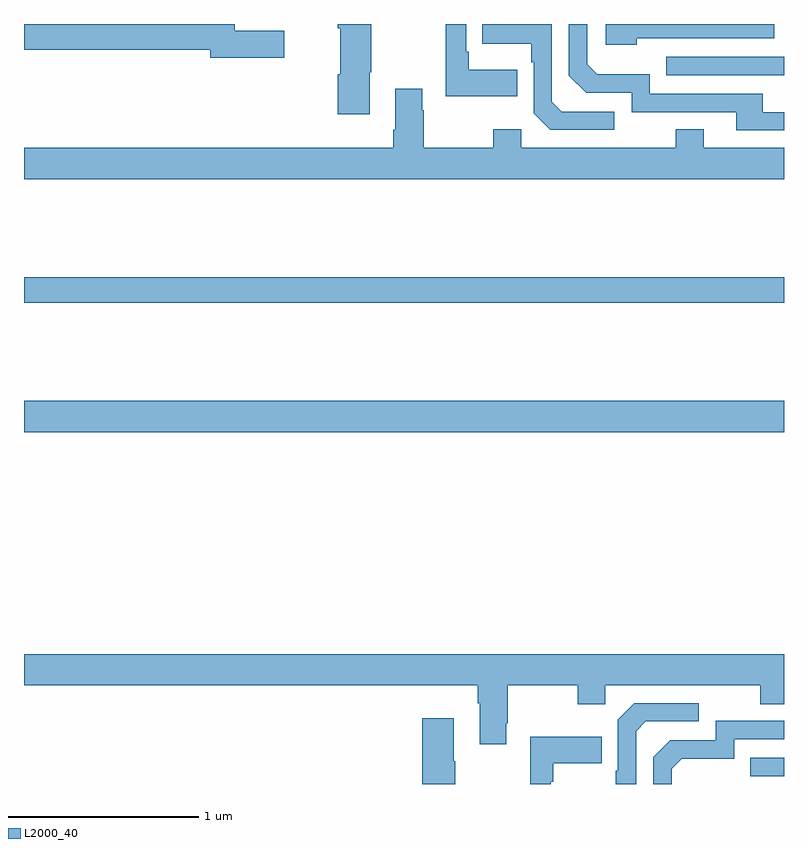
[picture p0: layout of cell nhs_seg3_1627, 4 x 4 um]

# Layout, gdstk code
import gdstk
lib = gdstk.Library(unit=1e-6, precision=1e-09)
def R(c, l, rs):  # rectangles x0, y0, x1, y1
    for r in rs: c.add(gdstk.rectangle(r[:2], r[2:], *l))
def P(c, l, *ps):  # polygons
    for p in ps: c.add(gdstk.Polygon(p, *l))
L2000_40 = (2000, 40)

nhs_seg3_1627 = lib.new_cell('nhs_seg3_1627')
R(nhs_seg3_1627, L2000_40, [(198.823,696.441,199,696.537), (195,698.252,199,698.416), (195,698.932,199,699.068), (198.379,700.131,199,700.227)])
P(nhs_seg3_1627, L2000_40, [(198.106,699.939),(197.829,699.939),(197.778,699.99),(197.778,700.4),(197.413,700.4),(197.413,700.295),(197.67,700.295),(197.67,700.199),(197.682,700.199),(197.682,699.93),(197.769,699.843),(198.106,699.843)],
  [(199,699.936),(198.889,699.936),(198.889,700.032),(198.294,700.032),(198.294,700.135),(198.017,700.135),(197.964,700.188),(197.964,700.4),(197.868,700.4),(197.868,700.128),(197.958,700.038),(198.198,700.038),(198.198,699.936),(198.749,699.936),(198.749,699.84),(199,699.84)],
  [(196.819,700.147),(196.827,700.147),(196.827,700.4),(196.652,700.4),(196.652,700.378),(196.664,700.378),(196.664,700.136),(196.652,700.136),(196.652,699.924),(196.819,699.924)],
  [(197.597,700.159),(197.341,700.159),(197.341,700.255),(197.328,700.255),(197.328,700.4),(197.22,700.4),(197.22,700.019),(197.597,700.019)],
  [(196.369,700.364),(196.108,700.364),(196.108,700.4),(195,700.4),(195,700.264),(195.98,700.264),(195.98,700.222),(196.369,700.222)],
  [(198.224,700.326),(198.948,700.326),(198.948,700.4),(198.063,700.4),(198.063,700.292),(198.224,700.292)],
  [(199,699.748),(198.577,699.748),(198.577,699.847),(198.43,699.847),(198.43,699.748),(197.616,699.748),(197.616,699.847),(197.47,699.847),(197.47,699.748),(197.103,699.748),(197.103,699.947),(197.095,699.947),(197.095,700.06),(196.955,700.06),(196.955,699.844),(196.943,699.844),(196.943,699.748),(195,699.748),(195,699.584),(199,699.584)],
  [(197.539,696.721),(197.547,696.721),(197.547,696.92),(197.914,696.92),(197.914,696.821),(198.06,696.821),(198.06,696.92),(198.874,696.92),(198.874,696.821),(199,696.821),(199,697.084),(195,697.084),(195,696.92),(197.387,696.92),(197.387,696.824),(197.399,696.824),(197.399,696.609),(197.539,696.609)],
  [(198.222,696.678),(198.273,696.729),(198.55,696.729),(198.55,696.825),(198.213,696.825),(198.126,696.738),(198.126,696.469),(198.114,696.469),(198.114,696.4),(198.222,696.4)],
  [(197.271,696.521),(197.263,696.521),(197.263,696.745),(197.096,696.745),(197.096,696.4),(197.271,696.4)],
  [(198.408,696.48),(198.461,696.533),(198.738,696.533),(198.738,696.636),(199,696.636),(199,696.732),(198.642,696.732),(198.642,696.63),(198.402,696.63),(198.312,696.54),(198.312,696.4),(198.408,696.4)],
  [(197.772,696.413),(197.785,696.413),(197.785,696.509),(198.041,696.509),(198.041,696.649),(197.664,696.649),(197.664,696.4),(197.772,696.4)])

lib.write_gds('nhs_seg3_1627.gds')
